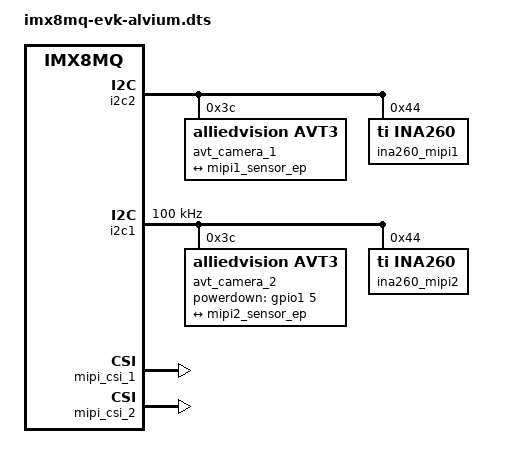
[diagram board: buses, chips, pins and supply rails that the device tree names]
// SPDX-License-Identifier: (GPL-2.0+ OR MIT)
/*
 * Copyright 2021 AVT
 *
 * This program is free software; you can redistribute it and/or
 * modify it under the terms of the GNU General Public License
 * as published by the Free Software Foundation; either version 2
 * of the License, or (at your option) any later version.
 *
 * This program is distributed in the hope that it will be useful,
 * but WITHOUT ANY WARRANTY; without even the implied warranty of
 * MERCHANTABILITY or FITNESS FOR A PARTICULAR PURPOSE.  See the
 * GNU General Public License for more details.
 */

#include "imx8mq-evk.dts"


/* delete OV-Cam 1 */
&i2c2 {
	/delete-node/ov5640_mipi@3c;
};

/* delete OV-Cam 2 */
&i2c1 {
	/delete-node/ov5640_mipi2@3c;
};


/* delete endpoint for OV-Cam 1 */
&mipi1_sensor_ep {
	/delete-node/remote-endpoint;
};

/* delete endpoint for OV-Cam 2 */
&mipi2_sensor_ep {
	/delete-node/remote-endpoint;
};

/* remember: switch csi-bridge into two-8bit-sensor-mode to support 
   two camera interfaces simultaniously */
   
&csi1_bridge {
	/delete-property/fsl,two-8bit-sensor-mode;
};

&csi2_bridge {
	/delete-property/fsl,two-8bit-sensor-mode;
};

/*
&csi1_bridge {
	fsl,two-8bit-sensor-mode;
};

&csi2_bridge {
	fsl,two-8bit-sensor-mode;
};
*/

/* add first Alvium Cam */
&i2c2 {
	/* clock-frequency = <400000>;*/

	avt_camera_1@3c {
		compatible = "alliedvision,avt3"; 
		reg = <0x3c>;
		csi_id = <0x00>;
		status = "okay";

		mipi_csi;

		bcrm_wait_timeout = <5222>; 
		streamon_delay = <50>; 
		x_force_reset_on_init;

		avt-ignore-yuv420_8_leg_avail;
		avt-ignore-yuv420_8_avail;
		avt-ignore-yuv420_10_avail;
		avt-ignore-yuv420_8_csps_avail;
		avt-ignore-yuv420_10_csps_avail;
		x_avt-ignore-yuv422_8_avail;
		avt-ignore-yuv422_10_avail;
		x_avt-ignore-rgb888_avail;
		avt-ignore-rgb666_avail;
		avt-ignore-rgb565_avail;
		avt-ignore-rgb555_avail;
		avt-ignore-rgb444_avail;
		avt-ignore-raw6_avail;
		avt-ignore-raw7_avail;
		x_avt-ignore-raw8_avail;
		x_avt-ignore-raw10_avail;
		avt-ignore-raw12_avail;
		avt-ignore-raw14_avail;

		port {
			avt_ep_1: endpoint {
				/*data-lanes = <1>;*/
				/*data-lanes = <1 2>; */
				data-lanes = <1 2 3 4>;
				clock-lanes = <0>;
				link-frequencies = /bits/ 64 <750000000>;
				/*max-lane-frequency = /bits/ 64 <500000000>;
				max-pixel-frequency = /bits/ 64 <266000000>;
				max-data-rate = /bits/ 64 <0>;*/
				remote-endpoint = <&mipi1_sensor_ep>;
			};
		};
	};

	ina260_mipi1: power-sensor@44 {
		compatible = "ti,ina260";
		status = "okay";
		reg = <0x44>;
		shunt-resistor = <4500>;
	};
};


/* add second Alvium Cam */
&i2c1 {
	clock-frequency = <100000>;

	avt_camera_2@3c {
		compatible = "alliedvision,avt3"; 
		reg = <0x3c>;
		csi_id = <0x01>;
		status = "okay";
		powerdown-gpios = <&gpio1 5 GPIO_ACTIVE_HIGH>;

		mipi_csi;

		bcrm_wait_timeout = <5222>; 
		streamon_delay = <50>; 
		x_force_reset_on_init;

		avt-ignore-yuv420_8_leg_avail;
		avt-ignore-yuv420_8_avail;
		avt-ignore-yuv420_10_avail;
		avt-ignore-yuv420_8_csps_avail;
		avt-ignore-yuv420_10_csps_avail;
		x_avt-ignore-yuv422_8_avail;
		avt-ignore-yuv422_10_avail;
		x_avt-ignore-rgb888_avail;
		avt-ignore-rgb666_avail;
		avt-ignore-rgb565_avail;
		avt-ignore-rgb555_avail;
		avt-ignore-rgb444_avail;
		avt-ignore-raw6_avail;
		avt-ignore-raw7_avail;
		x_avt-ignore-raw8_avail;
		x_avt-ignore-raw10_avail;
		avt-ignore-raw12_avail;
		avt-ignore-raw14_avail;

		port {
			avt_ep_2: endpoint {
				/* data-lanes = <1>; */
				/* data-lanes = <1 2>; */
				data-lanes = <1 2 3 4>;
				clock-lanes = <0>;
				link-frequencies = /bits/ 64 <750000000>;
				/*max-lane-frequency = /bits/ 64 <500000000>;
				max-pixel-frequency = /bits/ 64 <266000000>;
				max-data-rate = /bits/ 64 <0>;*/
				remote-endpoint = <&mipi2_sensor_ep>;
			};
		};
	};

	ina260_mipi2: power-sensor@44 {
		compatible = "ti,ina260";
		status = "okay";
		reg = <0x44>;
		shunt-resistor = <4500>;
	};
};


&mipi1_sensor_ep {
	remote-endpoint = <&avt_ep_1>;
	data-lanes = <1 2 3 4>;
	clock-lanes = <0>;
	link-frequencies = /bits/ 64 <500000000>;
	bus-type = <4>;
};

&mipi_csi_1 {
	assigned-clock-rates = <500000000>, <100000000>, <66000000>;
	status = "okay";
};


&mipi2_sensor_ep {
	remote-endpoint = <&avt_ep_2>;
	data-lanes = <1 2 3 4>;
	clock-lanes = <0>;
	link-frequencies = /bits/ 64 <500000000>;
	bus-type = <4>;
};

&mipi_csi_2 {
	assigned-clock-rates = <500000000>, <100000000>, <66000000>;
	status = "okay";
};

